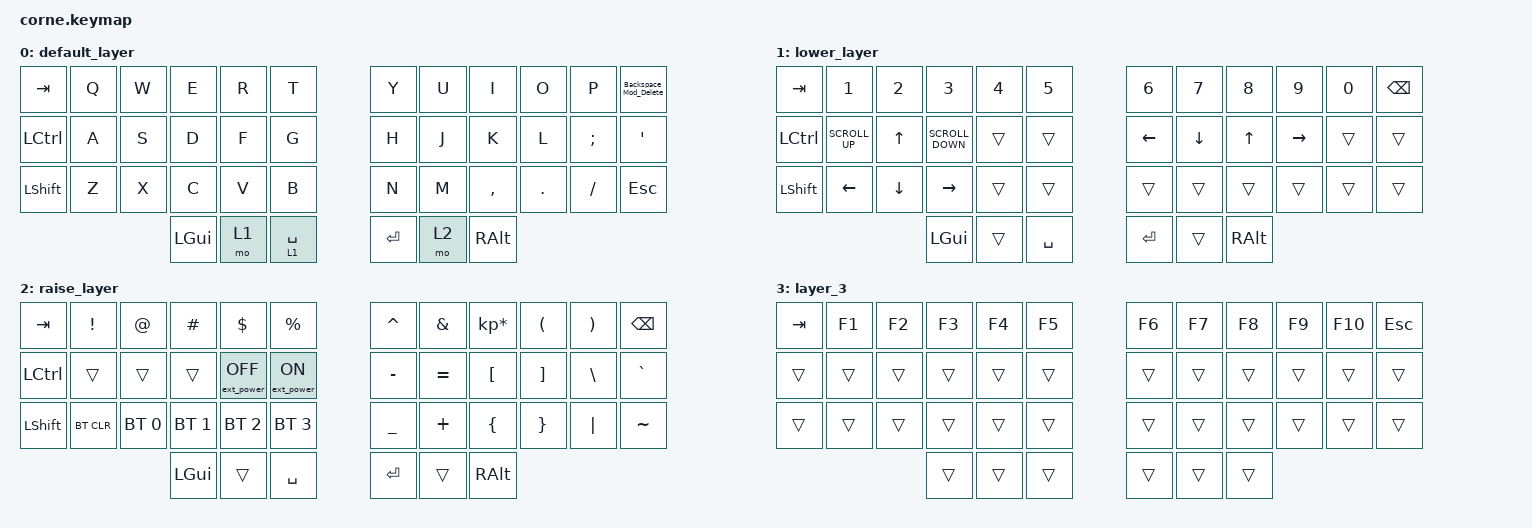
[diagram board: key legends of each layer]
/*
 * Copyright (c) 2020 The ZMK Contributors
 *
 * SPDX-License-Identifier: MIT
 */

#include <behaviors.dtsi>
#include <dt-bindings/zmk/bt.h>
#include <dt-bindings/zmk/ext_power.h>
#include <dt-bindings/zmk/keys.h>

/ {
    behaviors {
        Backspace_Mod_Delete: Backspace_Mod_Delete {
            compatible = "zmk,behavior-mod-morph";
            label = "BACKSPACE_MOD_DELETE";
            bindings = <&kp BACKSPACE>, <&kp DELETE>;

            #binding-cells = <0>;
            mods = <(MOD_LSFT)>;
        };
    };

    keymap {
        compatible = "zmk,keymap";

        default_layer {
            // -----------------------------------------------------------------------------------------
            // |  TAB |  Q  |  W  |  E  |  R  |  T  |   |  Y  |  U   |  I  |  O  |  P  | BKSP |
            // | CTRL |  A  |  S  |  D  |  F  |  G  |   |  H  |  J   |  K  |  L  |  ;  |  '   |
            // | SHFT |  Z  |  X  |  C  |  V  |  B  |   |  N  |  M   |  ,  |  .  |  /  | ESC  |
            //                    | GUI | LWR | SPC |   | ENT | RSE  | ALT |

            bindings = <
&kp TAB    &kp Q  &kp W  &kp E     &kp R  &kp T          &kp Y    &kp U  &kp I      &kp O    &kp P     &Backspace_Mod_Delete
&kp LCTRL  &kp A  &kp S  &kp D     &kp F  &kp G          &kp H    &kp J  &kp K      &kp L    &kp SEMI  &kp SQT
&kp LSHFT  &kp Z  &kp X  &kp C     &kp V  &kp B          &kp N    &kp M  &kp COMMA  &kp DOT  &kp FSLH  &kp ESC
                         &kp LGUI  &mo 1  &lt 1 SPACE    &kp RET  &mo 2  &kp RALT
            >;
        };

        lower_layer {
            // -----------------------------------------------------------------------------------------
            // |  TAB |  1  |  2  |  3  |  4  |  5  |   |  6  |  7  |  8  |  9  |  0  | BKSP |
            // | BTCLR| BT1 | BT2 | BT3 | BT4 | BT5 |   | LFT | DWN |  UP | RGT |     |      |
            // | SHFT |     |     |     |     |     |   |     |     |     |     |     |      |
            //                    | GUI |     | SPC |   | ENT |     | ALT |

            bindings = <
&kp TAB           &kp N1           &kp N2          &kp N3             &kp N4  &kp N5       &kp N6    &kp N7    &kp N8    &kp N9     &kp N0  &kp BSPC
&kp LEFT_CONTROL  &kp K_SCROLL_UP  &kp UP_ARROW    &kp K_SCROLL_DOWN  &trans  &trans       &kp LEFT  &kp DOWN  &kp UP    &kp RIGHT  &trans  &trans
&kp LSHFT         &kp LEFT_ARROW   &kp DOWN_ARROW  &kp RIGHT_ARROW    &trans  &trans       &trans    &trans    &trans    &trans     &trans  &trans
                                                   &kp LGUI           &trans  &kp SPACE    &kp RET   &trans    &kp RALT
            >;
        };

        raise_layer {
            // -----------------------------------------------------------------------------------------
            // |  TAB |  !  |  @  |  #  |  $  |  %  |   |  ^  |  &  |  *  |  (  |  )  | BKSP |
            // | CTRL |     |     |     |     |     |   |  -  |  =  |  [  |  ]  |  \  |  `   |
            // | SHFT |     |     |     |     |     |   |  _  |  +  |  {  |  }  | "|" |  ~   |
            //                    | GUI |     | SPC |   | ENT |     | ALT |

            bindings = <
&kp TAB    &kp EXCL    &kp AT        &kp HASH      &kp DLLR           &kp PRCNT           &kp CARET  &kp AMPS   &kp KP_MULTIPLY  &kp LPAR  &kp RPAR  &kp BSPC
&kp LCTRL  &trans      &trans        &trans        &ext_power EP_OFF  &ext_power EP_ON    &kp MINUS  &kp EQUAL  &kp LBKT         &kp RBKT  &kp BSLH  &kp GRAVE
&kp LSHFT  &bt BT_CLR  &bt BT_SEL 0  &bt BT_SEL 1  &bt BT_SEL 2       &bt BT_SEL 3        &kp UNDER  &kp PLUS   &kp LBRC         &kp RBRC  &kp PIPE  &kp TILDE
                                     &kp LGUI      &trans             &kp SPACE           &kp RET    &trans     &kp RALT
            >;
        };

        layer_3 {
            bindings = <
&kp TAB  &kp F1  &kp F2  &kp F3  &kp F4  &kp F5    &kp F6  &kp F7  &kp F8  &kp F9  &kp F10  &kp ESC
&trans   &trans  &trans  &trans  &trans  &trans    &trans  &trans  &trans  &trans  &trans   &trans
&trans   &trans  &trans  &trans  &trans  &trans    &trans  &trans  &trans  &trans  &trans   &trans
                         &trans  &trans  &trans    &trans  &trans  &trans
            >;
        };
    };

    conditional_layers {
        compatible = "zmk,conditional-layers";

        Adjust_Layer {
            if-layers = <1 2>;
            then-layer = <3>;
        };
    };
};
